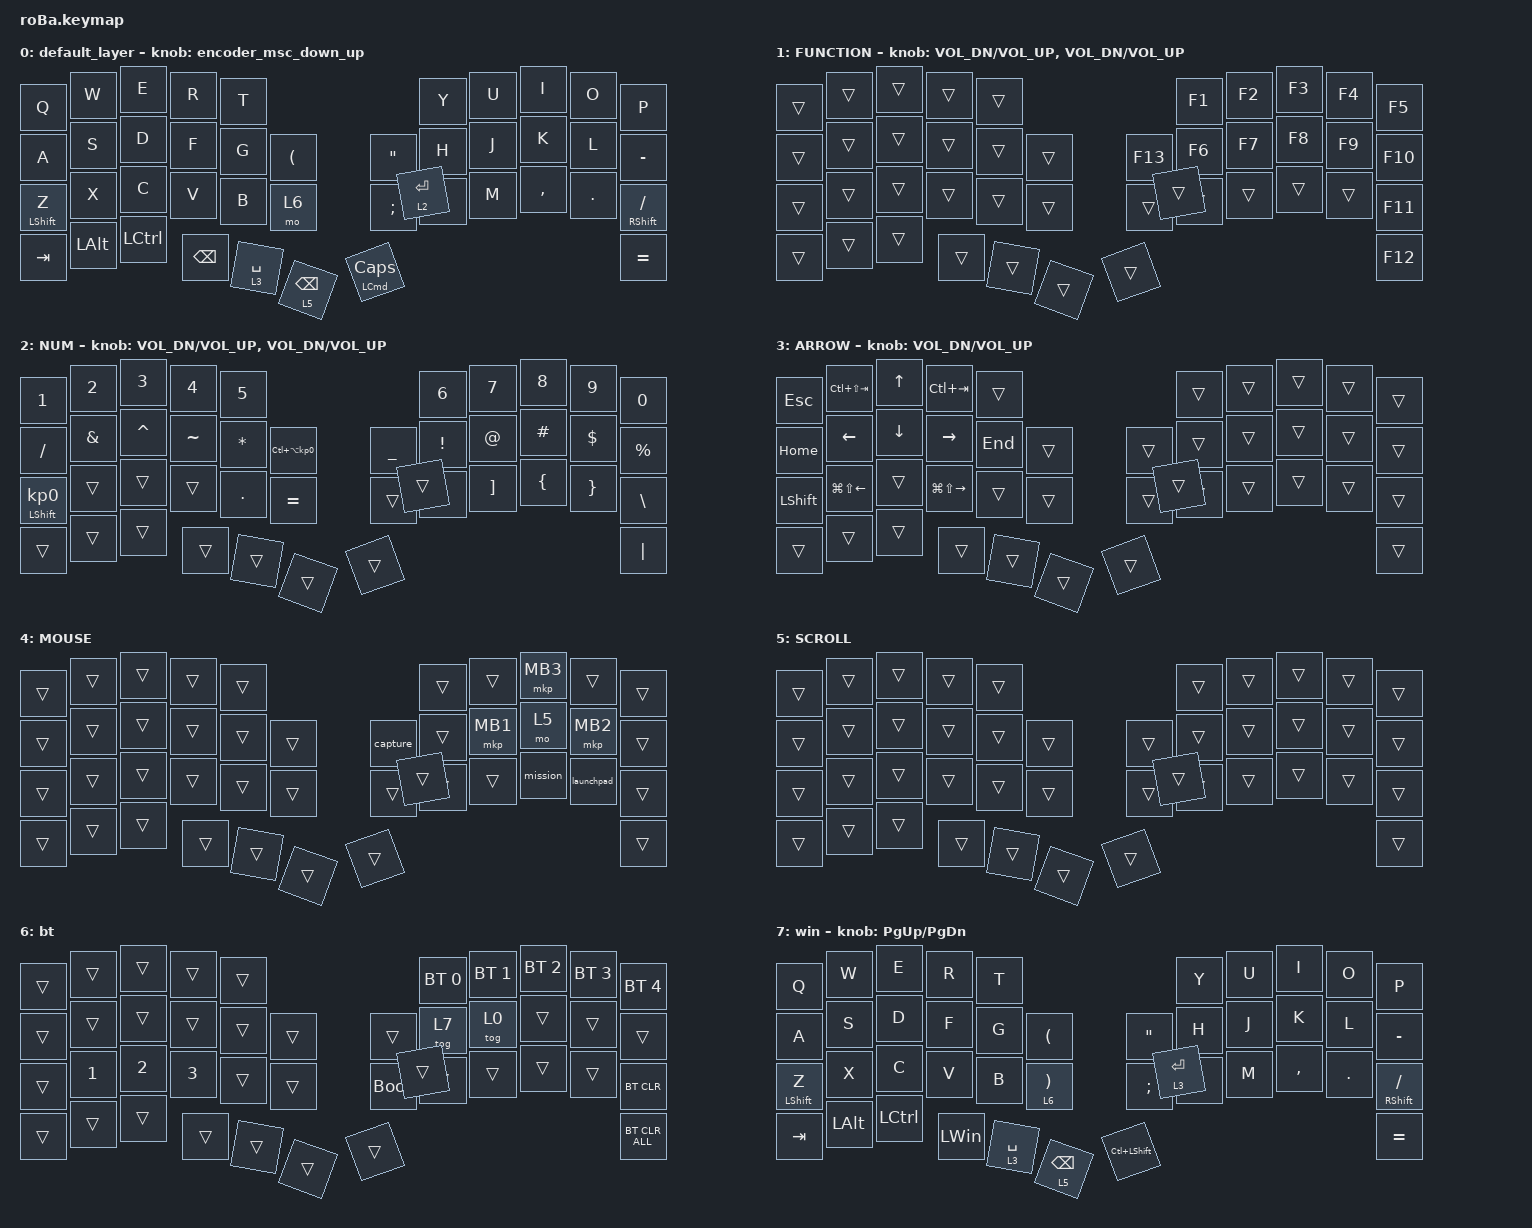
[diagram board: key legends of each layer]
#include <input/processors.dtsi>
#include <behaviors.dtsi>
#include <dt-bindings/zmk/bt.h>
#include <dt-bindings/zmk/keys.h>
#include <dt-bindings/zmk/pointing.h>

/* マウススクロールの1ステップの量 */

#undef ZMK_POINTING_DEFAULT_SCRL_VAL
#define ZMK_POINTING_DEFAULT_SCRL_VAL 80
#define MOUSE 4
#define SCROLL 5
#define NUM 6

&mt {
    flavor = "balanced";
    quick-tap-ms = <0>;
};

/ {
    combos {
        compatible = "zmk,combos";

        shift_tab {
            bindings = <&kp LS(LEFT_PARENTHESIS)>;
            key-positions = <12 13>;
        };

        tab {
            bindings = <&kp TAB>;
            key-positions = <11 10>;
        };

        double_quotation {
            bindings = <&kp DOUBLE_QUOTES>;
            key-positions = <20 21>;
        };

        eq {
            bindings = <&kp EQUAL>;
            key-positions = <24 25>;
        };

        l {
            bindings = <&kp RPAR>;
            key-positions = <13 14>;
        };

        L_disp {
            bindings = <&kp LA(LC(D))>;
            key-positions = <34 35>;
        };

        c_disp {
            bindings = <&kp LC(LA(F))>;
            key-positions = <35 36>;
        };

        r_disp {
            bindings = <&kp LA(LC(G))>;
            key-positions = <36 37>;
        };

        full_disp {
            bindings = <&kp LA(LC(ENTER))>;
            key-positions = <37 38>;
        };

        reset {
            bindings = <&bootloader>;
            key-positions = <5 6 7 8 4 3 2 1>;
        };

        esc {
            bindings = <&kp ESCAPE>;
            key-positions = <0 1>;
        };
    };

    macros {
        to_layer_0: to_layer_0 {
            compatible = "zmk,behavior-macro-one-param";
            #binding-cells = <1>;
            bindings = <&to 0 &macro_param_1to1 &kp MACRO_PLACEHOLDER>;
            label = "TO_LAYER_0";
        };

        mission: mission {
            compatible = "zmk,behavior-macro";
            #binding-cells = <0>;
            bindings = <&macro_tap>, <&kp LC(UP)>;
            label = "MISSION";
        };

        launchpad: launchpad {
            compatible = "zmk,behavior-macro";
            #binding-cells = <0>;
            bindings = <&macro_tap>, <&kp LG(L)>;
            label = "LAUNCHPAD";
        };

        capture: capture {
            compatible = "zmk,behavior-macro";
            #binding-cells = <0>;
            bindings = <&macro_tap>, <&kp LG(LS(N5))>;
            label = "CAPTURE";
        };

        left: left {
            compatible = "zmk,behavior-macro";
            #binding-cells = <0>;
            bindings = <&macro_tap>, <&kp LA(LC(D))>;
            label = "LEFT";
        };

        center: center {
            compatible = "zmk,behavior-macro";
            #binding-cells = <0>;
            bindings = <&macro_tap>, <&kp LA(LC(F))>;
            label = "CENTER";
        };

        right: right {
            compatible = "zmk,behavior-macro";
            #binding-cells = <0>;
            bindings = <&macro_tap>, <&kp LA(LC(G))>;
            label = "RIGHT";
        };

        left_two: left_two {
            compatible = "zmk,behavior-macro";
            #binding-cells = <0>;
            bindings = <&macro_tap>, <&kp LA(LC(E))>;
            label = "LEFT_TWO";
        };

        right_two: right_two {
            compatible = "zmk,behavior-macro";
            #binding-cells = <0>;
            bindings = <&macro_tap>, <&kp LA(LC(T))>;
            label = "RIGHT_TWO";
        };

        bt0: bt0 {
            compatible = "zmk,behavior-macro";
            #binding-cells = <0>;
            bindings =
                <&to 0>,
                <&macro_wait_time 200>,
                <&bt BT_SEL 0>,
                <&macro_wait_time 500>;
            label = "BT0";
        };

        bt1: bt1 {
            compatible = "zmk,behavior-macro";
            #binding-cells = <0>;
            bindings =
                <&to 0>,
                <&macro_wait_time 200>,
                <&bt BT_SEL 1>,
                <&macro_wait_time 500>,
                <&to 7>;
            label = "BT1";
        };
    };

    behaviors {
        lt_to_layer_0: lt_to_layer_0 {
            compatible = "zmk,behavior-hold-tap";
            label = "LAYER_TAP_TO_0";
            bindings = <&mo>, <&to_layer_0>;
            #binding-cells = <2>;
            tapping-term-ms = <200>;
        };

        encoder_msc_down_up: encoder_msc_down_up {
            compatible = "zmk,behavior-sensor-rotate";
            label = "ENCODER_MSC_DOWN_UP";
            #sensor-binding-cells = <0>;
            bindings = <&msc SCRL_DOWN>, <&msc SCRL_UP>;
            tap-ms = <20>;
        };
    };

    keymap {
        compatible = "zmk,keymap";

        default_layer {
            bindings = <
&kp Q &kp W &kp E &kp R &kp T &kp Y &kp U &kp I &kp O &kp P
&kp A &kp S &kp D &kp F &kp G &kp LEFT_PARENTHESIS &kp DOUBLE_QUOTES &kp H &kp J &kp K &kp L &kp MINUS
&mt LEFT_SHIFT Z &kp X &kp C &kp V &kp B &mo 6 &kp SEMICOLON &kp N &kp M &kp COMMA &kp DOT &mt RIGHT_SHIFT SLASH
&kp TAB &kp LEFT_ALT &kp LCTRL &kp BACKSPACE &lt 3 SPACE &lt_to_layer_0 5 BACKSPACE &mt LEFT_COMMAND CAPSLOCK &lt 2 ENTER &kp EQUAL
            >;
            sensor-bindings = <&encoder_msc_down_up>;
        };

        FUNCTION {
            bindings = <
&trans &trans &trans &trans &trans &kp F1 &kp F2 &kp F3 &kp F4 &kp F5
&trans &trans &trans &trans &trans &trans &kp F13 &kp F6 &kp F7 &kp F8 &kp F9 &kp F10
&trans &trans &trans &trans &trans &trans &trans &trans &trans &trans &trans &kp F11
&trans &trans &trans &trans &trans &trans &trans &trans &kp F12
            >;
            sensor-bindings = <&inc_dec_kp C_VOL_DN C_VOL_UP &inc_dec_kp C_VOL_DN C_VOL_UP>;
        };

        NUM {
            bindings = <
&kp NUMBER_1 &kp NUMBER_2 &kp NUMBER_3 &kp NUMBER_4 &kp N5 &kp NUMBER_6 &kp N7 &kp N8 &kp N9 &kp N0
&kp SLASH &kp AMPERSAND &kp CARET &kp TILDE &kp ASTERISK &kp LC(LA(KP_NUMBER_0)) &kp UNDERSCORE &kp EXCLAMATION &kp AT_SIGN &kp HASH &kp DOLLAR &kp PERCENT
&mt LEFT_SHIFT KP_NUMBER_0 &trans &trans &trans &kp PERIOD &kp EQUAL &trans &kp LEFT_BRACKET &kp RIGHT_BRACKET &kp LEFT_BRACE &kp RIGHT_BRACE &kp BACKSLASH
&trans &trans &trans &trans &trans &trans &trans &trans &kp PIPE
            >;
            sensor-bindings = <&inc_dec_kp C_VOL_DN C_VOL_UP &inc_dec_kp C_VOL_DN C_VOL_UP>;
        };

        ARROW {
            bindings = <
&kp ESCAPE &kp LC(LS(TAB)) &kp UP_ARROW &kp LC(TAB) &trans &trans &trans &trans &trans &trans
&kp HOME &kp LEFT_ARROW &kp DOWN_ARROW &kp RIGHT_ARROW &kp END &trans &trans &trans &trans &trans &trans &trans
&kp LEFT_SHIFT &kp LG(LS(LEFT_ARROW)) &trans &kp LG(LS(RIGHT_ARROW)) &trans &trans &trans &trans &trans &trans &trans &trans
&trans &trans &trans &trans &trans &trans &trans &trans &trans
            >;
            sensor-bindings = <&inc_dec_kp C_VOL_DN C_VOL_UP>;
        };

        MOUSE {
            bindings = <
&trans &trans &trans &trans &trans &trans &trans &mkp MB3 &trans &trans
&trans &trans &trans &trans &trans &trans &capture &trans &mkp MB1 &mo 5 &mkp MB2 &trans
&trans &trans &trans &trans &trans &trans &trans &trans &trans &mission &launchpad &trans
&trans &trans &trans &trans &trans &trans &trans &trans &trans
            >;
        };

        SCROLL {
            bindings = <
&trans &trans &trans &trans &trans &trans &trans &trans &trans &trans
&trans &trans &trans &trans &trans &trans &trans &trans &trans &trans &trans &trans
&trans &trans &trans &trans &trans &trans &trans &trans &trans &trans &trans &trans
&trans &trans &trans &trans &trans &trans &trans &trans &trans
            >;
        };

        bt {
            bindings = <
&trans &trans &trans &trans &trans &bt BT_SEL 0 &bt BT_SEL 1 &bt BT_SEL 2 &bt BT_SEL 3 &bt BT_SEL 4
&trans &trans &trans &trans &trans &trans &trans &tog 7 &tog 0 &trans &trans &trans
&trans &kp NUMBER_1 &kp NUMBER_2 &kp NUMBER_3 &trans &trans &bootloader &trans &trans &trans &trans &bt BT_CLR
&trans &trans &trans &trans &trans &trans &trans &trans &bt BT_CLR_ALL
            >;
        };

        win {
            bindings = <
&kp Q &kp W &kp E &kp R &kp T &kp Y &kp U &kp I &kp O &kp P
&kp A &kp S &kp D &kp F &kp G &kp LEFT_PARENTHESIS &kp DOUBLE_QUOTES &kp H &kp J &kp K &kp L &kp MINUS
&mt LEFT_SHIFT Z &kp X &kp C &kp V &kp B &lt 6 RIGHT_PARENTHESIS &kp SEMICOLON &kp N &kp M &kp COMMA &kp DOT &mt RIGHT_SHIFT SLASH
&kp TAB &kp LEFT_ALT &kp LCTRL &kp LEFT_WIN &lt 3 SPACE &lt_to_layer_0 5 BACKSPACE &kp LC(LEFT_SHIFT) &lt 3 ENTER &kp EQUAL
            >;
            sensor-bindings = <&inc_dec_kp PG_UP PAGE_DOWN>;
        };
    };
};
